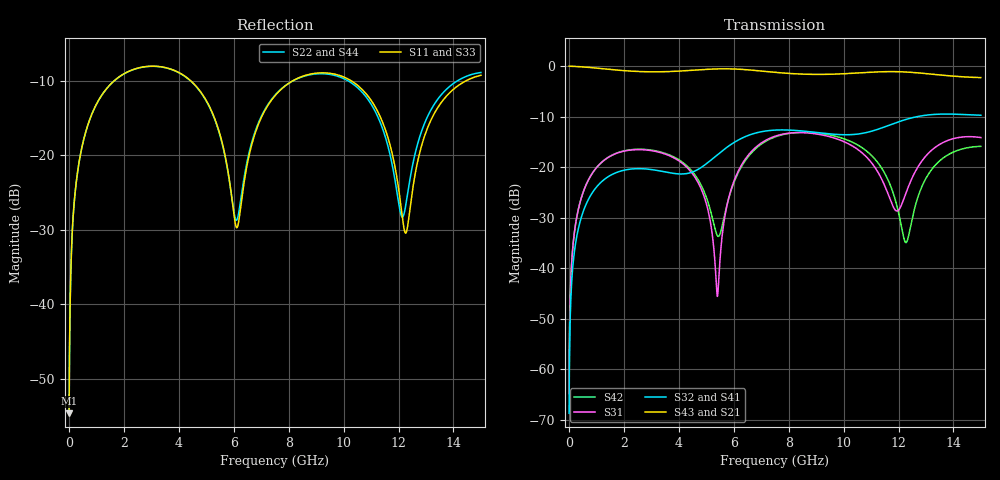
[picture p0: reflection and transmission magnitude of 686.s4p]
! Created with skrf 1.8.0 (http://scikit-rf.org).
# GHz S RI R 50.0
!freq ReS11 ImS11 ReS12 ImS12 ReS13 ImS13
! ReS14 ImS14
! ReS21 ImS21 ReS22 ImS22 ReS23 ImS23
! ReS24 ImS24
! ReS31 ImS31 ReS32 ImS32 ReS33 ImS33
! ReS34 ImS34
! ReS41 ImS41 ReS42 ImS42 ReS43 ImS43
! ReS44 ImS44
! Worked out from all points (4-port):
!   2499 points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, 5 MHz to 15 GHz, reference 50 ohm
!   strongest paths, dB at 5 MHz, 3.476 GHz, 7.19 GHz, 11.1 GHz, 15 GHz:
!     S43: 0.0, -1.1, -1.1, -1.2, -2.3
!     S21: 0.0, -1.1, -1.1, -1.2, -2.2
!     S32: -68.7, -20.9, -12.8, -12.8, -9.7
!     S41: -68.7, -20.9, -12.8, -12.8, -9.8
!     S31: -64.8, -17.4, -14.6, -19.7, -14.2
!     S42: -64.8, -17.2, -14.8, -18.1, -15.9
!   lowest |S11| = -54.6 dB at 5 MHz (marker M1), VSWR 1.00, Z = 50.1 + j0.113 ohm
!   |S11| at or under -10 dB: start of sweep to 1.645 GHz; 4.434 GHz to 8.147 GHz (3.712 GHz wide, 59 % of centre); 10.28 GHz to 14.46 GHz (4.176 GHz wide, 33.8 % of centre)
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0.005  0.00147 0.00112  0.9985 -0.00287  7.29e-05 0.000568  -7.1e-05 -0.000358
       0.9985 -0.00287  0.00147 0.00112  -7.1e-05 -0.000358  7.3e-05 0.000568
       7.29e-05 0.000568  -7.1e-05 -0.000358  0.00147 0.00112  0.9985 -0.00287
       -7.1e-05 -0.000358  7.3e-05 0.000568  0.9985 -0.00287  0.00147 0.00112
0.3126303  0.0201 0.0745  0.9727 -0.1792  0.00875 0.0341  -0.00738 -0.0214
           0.9727 -0.1792  0.02 0.0745  -0.00738 -0.0214  0.00889 0.0341
           0.00875 0.0341  -0.00738 -0.0214  0.0201 0.0745  0.9727 -0.1792
           -0.00738 -0.0214  0.00889 0.0341  0.9727 -0.1792  0.02 0.0745
1.569404  0.242 0.1889  0.6098 -0.6926  0.1123 0.0675  -0.0831 -0.0158
          0.6098 -0.6926  0.2415 0.1892  -0.0831 -0.0158  0.1143 0.0652
          0.1123 0.0675  -0.0831 -0.0158  0.242 0.1889  0.6098 -0.6926
          -0.0831 -0.0158  0.1143 0.0652  0.6098 -0.6926  0.2415 0.1892
5.402251  0.0801 -0.1356  -0.8475 -0.402  -0.00494 -0.00179  -0.0528 0.1214
          -0.8475 -0.402  0.0826 -0.132  -0.0528 0.1214  -0.0188 -0.00928
          -0.00494 -0.00179  -0.0528 0.1214  0.0791 -0.135  -0.8478 -0.4018
          -0.0528 0.1214  -0.0188 -0.00928  -0.8478 -0.4018  0.0827 -0.1309
9.547728  0.3492 -0.0603  0.0345 0.8302  0.1834 -0.0749  0.1932 -0.0882
          0.0345 0.8302  0.3432 -0.0586  0.1933 -0.0885  0.1799 -0.1022
          0.1834 -0.0749  0.1933 -0.0885  0.3492 -0.0594  0.034 0.8302
          0.1932 -0.0882  0.1799 -0.1022  0.034 0.8302  0.3434 -0.0589
12.2426  0.03 -0.00378  0.866 0.1251  0.049 0.0194  0.0323 -0.293
         0.866 0.1251  0.0393 0.0197  0.0325 -0.2932  -0.0175 0.00497
         0.049 0.0194  0.0325 -0.2932  0.026 0.00027  0.866 0.1248
         0.0323 -0.293  -0.0175 0.00497  0.866 0.1248  0.0425 0.0242
15  0.3359 0.0769  0.2663 -0.7257  0.1627 -0.1094  -0.3199 -0.0568
    0.2663 -0.7257  0.3554 0.0556  -0.3213 -0.0563  0.1339 -0.0887
    0.1627 -0.1094  -0.3213 -0.0563  0.3407 0.088  0.267 -0.7218
    -0.3199 -0.0568  0.1339 -0.0887  0.267 -0.7218  0.3656 0.0512
